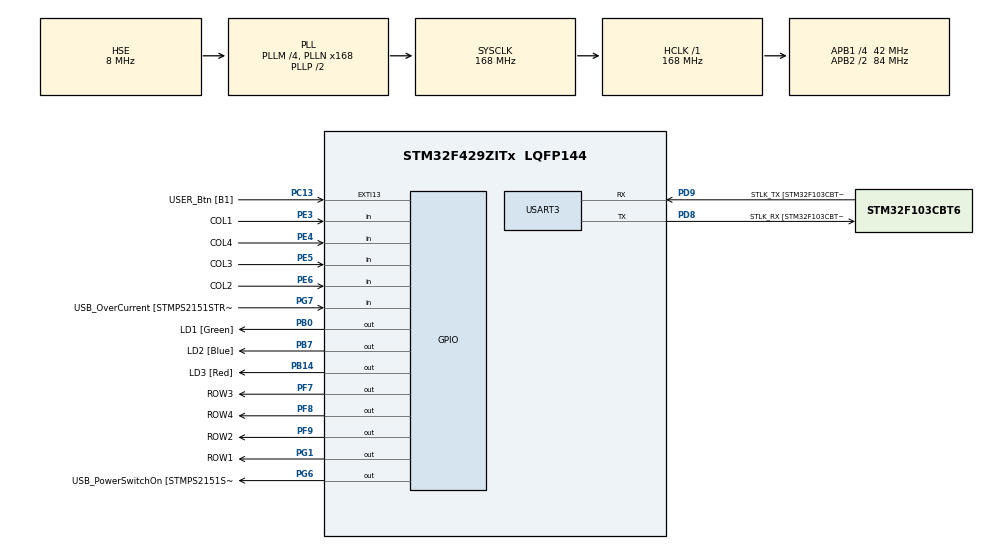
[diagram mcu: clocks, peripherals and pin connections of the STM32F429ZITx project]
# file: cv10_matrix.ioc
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Mcu.Family=STM32F4
Mcu.Name=STM32F429ZITx
Mcu.Package=LQFP144
NVIC.PriorityGroup=NVIC_PRIORITYGROUP_4
NVIC.TIM3_IRQn=true\:0\:0\:false\:false\:true\:true\:true\:true
PA1.GPIO_Label=RMII_REF_CLK [LAN8742A-CZ-TR_REFCLK0]
PA1.Signal=ETH_REF_CLK
PA10.GPIO_Label=USB_ID
PA10.Signal=USB_OTG_FS_ID
PA11.GPIO_Label=USB_DM
PA11.Signal=USB_OTG_FS_DM
PA12.GPIO_Label=USB_DP
PA12.Signal=USB_OTG_FS_DP
PA13.GPIO_Label=TMS
PA13.Mode=Serial_Wire
PA13.Signal=SYS_JTMS-SWDIO
PA14.GPIO_Label=TCK
PA14.Mode=Serial_Wire
PA14.Signal=SYS_JTCK-SWCLK
PA2.GPIO_Label=RMII_MDIO [LAN8742A-CZ-TR_MDIO]
PA2.Signal=ETH_MDIO
PA7.GPIO_Label=RMII_CRS_DV [LAN8742A-CZ-TR_CRS_DV]
PA7.Signal=ETH_CRS_DV
PA8.GPIO_Label=USB_SOF [TP1]
PA8.Signal=USB_OTG_FS_SOF
PA9.GPIO_Label=USB_VBUS
PA9.Signal=USB_OTG_FS_VBUS
PB0.GPIO_Label=LD1 [Green]
PB0.Signal=GPIO_Output
PB13.GPIO_Label=RMII_TXD1 [LAN8742A-CZ-TR_TXD1]
PB13.Signal=ETH_TXD1
PB14.GPIO_Label=LD3 [Red]
PB14.Signal=GPIO_Output
PB7.GPIO_Label=LD2 [Blue]
PB7.Signal=GPIO_Output
PC1.GPIO_Label=RMII_MDC [LAN8742A-CZ-TR_MDC]
PC1.Signal=ETH_MDC
PC13.GPIO_Label=USER_Btn [B1]
PC13.Signal=GPXTI13
PC14/OSC32_IN.Mode=LSE-External-Oscillator
PC14/OSC32_IN.Signal=RCC_OSC32_IN
PC15/OSC32_OUT.Mode=LSE-External-Oscillator
PC15/OSC32_OUT.Signal=RCC_OSC32_OUT
PC4.GPIO_Label=RMII_RXD0 [LAN8742A-CZ-TR_RXD0]
PC4.Signal=ETH_RXD0
PC5.GPIO_Label=RMII_RXD1 [LAN8742A-CZ-TR_RXD1]
PC5.Signal=ETH_RXD1
PD8.GPIO_Label=STLK_RX [STM32F103CBT6_PA3]
PD8.Mode=Asynchronous
PD8.Signal=USART3_TX
PD9.GPIO_Label=STLK_TX [STM32F103CBT6_PA2]
PD9.Mode=Asynchronous
PD9.Signal=USART3_RX
PE3.GPIO_Label=COL1
PE3.GPIO_PuPd=GPIO_PULLUP
PE3.Signal=GPIO_Input
PE4.GPIO_Label=COL4
PE4.GPIO_PuPd=GPIO_PULLUP
PE4.Signal=GPIO_Input
PE5.GPIO_Label=COL3
PE5.GPIO_PuPd=GPIO_PULLUP
PE5.Signal=GPIO_Input
PE6.GPIO_Label=COL2
PE6.GPIO_PuPd=GPIO_PULLUP
PE6.Signal=GPIO_Input
PF7.GPIO_Label=ROW3
PF7.GPIO_ModeDefaultOutputPP=GPIO_MODE_OUTPUT_OD
PF7.GPIO_PuPd=GPIO_NOPULL
PF7.Signal=GPIO_Output
PF8.GPIO_Label=ROW4
PF8.GPIO_ModeDefaultOutputPP=GPIO_MODE_OUTPUT_OD
PF8.GPIO_PuPd=GPIO_NOPULL
PF8.Signal=GPIO_Output
PF9.GPIO_Label=ROW2
PF9.GPIO_ModeDefaultOutputPP=GPIO_MODE_OUTPUT_OD
PF9.GPIO_PuPd=GPIO_NOPULL
PF9.Signal=GPIO_Output
PG1.GPIO_Label=ROW1
PG1.GPIO_ModeDefaultOutputPP=GPIO_MODE_OUTPUT_OD
PG1.GPIO_PuPd=GPIO_NOPULL
PG1.Signal=GPIO_Output
PG11.GPIO_Label=RMII_TX_EN [LAN8742A-CZ-TR_TXEN]
PG11.Signal=ETH_TX_EN
PG13.GPIO_Label=RMII_TXD0 [LAN8742A-CZ-TR_TXD0]
PG13.Signal=ETH_TXD0
PG6.GPIO_Label=USB_PowerSwitchOn [STMPS2151STR_EN]
PG6.Signal=GPIO_Output
PG7.GPIO_Label=USB_OverCurrent [STMPS2151STR_FAULT]
PG7.Signal=GPIO_Input
PH0/OSC_IN.GPIO_Label=MCO [STM32F103CBT6_PA8]
PH0/OSC_IN.Mode=HSE-External-Clock-Source
PH0/OSC_IN.Signal=RCC_OSC_IN
PH1/OSC_OUT.Mode=HSE-External-Clock-Source
PH1/OSC_OUT.Signal=RCC_OSC_OUT
ProjectManager.HeapSize=0x200
ProjectManager.StackSize=0x400
ProjectManager.TargetToolchain=STM32CubeIDE
RCC.48MHZClocksFreq_Value=48000000
RCC.AHBFreq_Value=168000000
RCC.APB1CLKDivider=RCC_HCLK_DIV4
RCC.APB1Freq_Value=42000000
RCC.APB1TimFreq_Value=84000000
RCC.APB2CLKDivider=RCC_HCLK_DIV2
RCC.APB2Freq_Value=84000000
RCC.APB2TimCLKDivider=2
RCC.APB2TimFreq_Value=168000000
RCC.CortexFreq_Value=168000000
RCC.HCLKFreq_Value=168000000
RCC.HSE_VALUE=8000000
RCC.HSI_VALUE=16000000
RCC.PLLM=4
RCC.PLLMUL=RCC_PLL_MUL9
RCC.PLLN=168
RCC.PLLQ=7
RCC.PLLSourceVirtual=RCC_PLLSOURCE_HSE
RCC.PRESCALERUSB=RCC_USBCLKSOURCE_PLL_DIV1_5
RCC.SYSCLKFreq_VALUE=168000000
RCC.SYSCLKSource=RCC_SYSCLKSOURCE_PLLCLK
RCC.SYSCLKSourceVirtual=RCC_SYSCLKSOURCE_PLLCLK
RCC.USBFreq_Value=48000000
RCC.VCOOutputFreq_Value=336000000
TIM3.AutoReloadPreload=TIM_AUTORELOAD_PRELOAD_ENABLE
TIM3.Period=99
TIM3.Prescaler=8399
USART3.VirtualMode=VM_ASYNC
VP_TIM3_VS_ClockSourceINT.Mode=Internal
board=NUCLEO-F429ZI

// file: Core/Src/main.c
/* USER CODE BEGIN Header */
/**
  ******************************************************************************
  * @file           : main.c
  * @brief          : Main program body
  ******************************************************************************
  * @attention
  *
  * Copyright (c) 2023 STMicroelectronics.
  * All rights reserved.
  *
  * This software is licensed under terms that can be found in the LICENSE file
  * in the root directory of this software component.
  * If no LICENSE file comes with this software, it is provided AS-IS.
  *
  ******************************************************************************
  */
/* USER CODE END Header */
#include "main.h"

/* USER CODE BEGIN Includes */
#include <stdio.h>
/* USER CODE END Includes */

/* USER CODE BEGIN PD */
#define TIMEOUT 5000

/* USER CODE END PD */

TIM_HandleTypeDef htim3;

UART_HandleTypeDef huart3;

/* USER CODE BEGIN PV */
static volatile int8_t key = -1;
static uint32_t timer_last = 0;
static uint8_t password[5] = {7,9,3,2,12};

/* USER CODE END PV */

void SystemClock_Config(void);
static void MX_GPIO_Init(void);
static void MX_USART3_UART_Init(void);
static void MX_TIM3_Init(void);

/* USER CODE BEGIN 0 */
int __io_putchar(int ch)
{
	ITM_SendChar(ch);
	return 0;
}
/* USER CODE END 0 */

int main(void)
{

  /* MCU Configuration--------------------------------------------------------*/

  /* Reset of all peripherals, Initializes the Flash interface and the Systick. */
  HAL_Init();

  /* Configure the system clock */
  SystemClock_Config();

  /* Initialize all configured peripherals */
  MX_GPIO_Init();
  MX_USART3_UART_Init();
  MX_TIM3_Init();
  /* USER CODE BEGIN 2 */
  HAL_TIM_Base_Start_IT(&htim3);

  printf(" ****\n");

  timer_last = HAL_GetTick();
  /* USER CODE END 2 */

  /* Infinite loop */
  /* USER CODE BEGIN WHILE */

  uint8_t position = 0;
  uint8_t status_timer = 0;

  while (1) {

	  if ((status_timer == 1) && ((timer_last + TIMEOUT) < HAL_GetTick())) {
		  printf("Timeout!\n");
		  position = 0;
		  status_timer = 0;
		  continue;
	  }

	  if (key != -1) {
		  switch (key)
		  {
		  case 0: printf("Key: 0\n"); break;
		  case 1: printf("Key: 1\n"); break;
		  case 2: printf("Key: 2\n"); break;
		  case 3: printf("Key: 3\n"); break;
		  case 4: printf("Key: 4\n"); break;
		  case 5: printf("Key: 5\n"); break;
		  case 6: printf("Key: 6\n"); break;
		  case 7: printf("Key: 7\n"); break;
		  case 8: printf("Key: 8\n"); break;
		  case 9: printf("Key: 9\n"); break;
		  case 11: printf("Key: *\n"); break;
		  case 12: printf("Key: #\n"); break;
		  case 21: printf("Key: A\n"); break;
		  case 22: printf("Key: B\n"); break;
		  case 23: printf("Key: C\n"); break;
		  case 24: printf("Key: D\n"); break;
		  }

		  HAL_GPIO_WritePin(LD2_GPIO_Port, LD2_Pin, 0);

		  if (key != -1) {
			  status_timer = 1;
			  HAL_GPIO_WritePin(LD2_GPIO_Port, LD2_Pin, 0);

			  if (key == password[position]) {
				  if (key == 12 && position == 4) {
					  printf("Correct password!\n");
					  HAL_GPIO_WritePin(LD2_GPIO_Port, LD2_Pin, 1);

					  position = 0;
					  status_timer = 0;
				  }
				  position++;
			  } else {
				  position = 0;
				  if (key == 12) {
					  printf("Wrong password!\n");
				  }
			  }
		  }

		  HAL_Delay(250);
		  timer_last = HAL_GetTick();
		  key = -1;
	  }
	  /* USER CODE END WHILE */

  }
}

void SystemClock_Config(void)
{
  RCC_OscInitTypeDef RCC_OscInitStruct = {0};
  RCC_ClkInitTypeDef RCC_ClkInitStruct = {0};

  /** Configure the main internal regulator output voltage
  */
  __HAL_RCC_PWR_CLK_ENABLE();
  __HAL_PWR_VOLTAGESCALING_CONFIG(PWR_REGULATOR_VOLTAGE_SCALE1);

  /** Initializes the RCC Oscillators according to the specified parameters
  * in the RCC_OscInitTypeDef structure.
  */
  RCC_OscInitStruct.OscillatorType = RCC_OSCILLATORTYPE_HSE;
  RCC_OscInitStruct.HSEState = RCC_HSE_BYPASS;
  RCC_OscInitStruct.PLL.PLLState = RCC_PLL_ON;
  RCC_OscInitStruct.PLL.PLLSource = RCC_PLLSOURCE_HSE;
  RCC_OscInitStruct.PLL.PLLM = 4;
  RCC_OscInitStruct.PLL.PLLN = 168;
  RCC_OscInitStruct.PLL.PLLP = RCC_PLLP_DIV2;
  RCC_OscInitStruct.PLL.PLLQ = 7;
  if (HAL_RCC_OscConfig(&RCC_OscInitStruct) != HAL_OK)
  {
    Error_Handler();
  }

  /** Initializes the CPU, AHB and APB buses clocks
  */
  RCC_ClkInitStruct.ClockType = RCC_CLOCKTYPE_HCLK|RCC_CLOCKTYPE_SYSCLK
                              |RCC_CLOCKTYPE_PCLK1|RCC_CLOCKTYPE_PCLK2;
  RCC_ClkInitStruct.SYSCLKSource = RCC_SYSCLKSOURCE_PLLCLK;
  RCC_ClkInitStruct.AHBCLKDivider = RCC_SYSCLK_DIV1;
  RCC_ClkInitStruct.APB1CLKDivider = RCC_HCLK_DIV4;
  RCC_ClkInitStruct.APB2CLKDivider = RCC_HCLK_DIV2;

  if (HAL_RCC_ClockConfig(&RCC_ClkInitStruct, FLASH_LATENCY_5) != HAL_OK)
  {
    Error_Handler();
  }
}

static void MX_TIM3_Init(void)
{

  TIM_ClockConfigTypeDef sClockSourceConfig = {0};
  TIM_MasterConfigTypeDef sMasterConfig = {0};

  htim3.Instance = TIM3;
  htim3.Init.Prescaler = 8399;
  htim3.Init.CounterMode = TIM_COUNTERMODE_UP;
  htim3.Init.Period = 99;
  htim3.Init.ClockDivision = TIM_CLOCKDIVISION_DIV1;
  htim3.Init.AutoReloadPreload = TIM_AUTORELOAD_PRELOAD_DISABLE;
  if (HAL_TIM_Base_Init(&htim3) != HAL_OK)
  {
    Error_Handler();
  }
  sClockSourceConfig.ClockSource = TIM_CLOCKSOURCE_INTERNAL;
  if (HAL_TIM_ConfigClockSource(&htim3, &sClockSourceConfig) != HAL_OK)
  {
    Error_Handler();
  }
  sMasterConfig.MasterOutputTrigger = TIM_TRGO_RESET;
  sMasterConfig.MasterSlaveMode = TIM_MASTERSLAVEMODE_DISABLE;
  if (HAL_TIMEx_MasterConfigSynchronization(&htim3, &sMasterConfig) != HAL_OK)
  {
    Error_Handler();
  }

}

static void MX_USART3_UART_Init(void)
{

  huart3.Instance = USART3;
  huart3.Init.BaudRate = 115200;
  huart3.Init.WordLength = UART_WORDLENGTH_8B;
  huart3.Init.StopBits = UART_STOPBITS_1;
  huart3.Init.Parity = UART_PARITY_NONE;
  huart3.Init.Mode = UART_MODE_TX_RX;
  huart3.Init.HwFlowCtl = UART_HWCONTROL_NONE;
  huart3.Init.OverSampling = UART_OVERSAMPLING_16;
  if (HAL_UART_Init(&huart3) != HAL_OK)
  {
    Error_Handler();
  }

}

static void MX_GPIO_Init(void)
{
  GPIO_InitTypeDef GPIO_InitStruct = {0};

  /* GPIO Ports Clock Enable */
  __HAL_RCC_GPIOE_CLK_ENABLE();
  __HAL_RCC_GPIOC_CLK_ENABLE();
  __HAL_RCC_GPIOF_CLK_ENABLE();
  __HAL_RCC_GPIOH_CLK_ENABLE();
  __HAL_RCC_GPIOA_CLK_ENABLE();
  __HAL_RCC_GPIOB_CLK_ENABLE();
  __HAL_RCC_GPIOG_CLK_ENABLE();
  __HAL_RCC_GPIOD_CLK_ENABLE();

  /*Configure GPIO pin Output Level */
  HAL_GPIO_WritePin(GPIOF, ROW3_Pin|ROW4_Pin|ROW2_Pin, GPIO_PIN_RESET);

  /*Configure GPIO pin Output Level */
  HAL_GPIO_WritePin(GPIOB, LD1_Pin|LD3_Pin|LD2_Pin, GPIO_PIN_RESET);

  /*Configure GPIO pin Output Level */
  HAL_GPIO_WritePin(GPIOG, ROW1_Pin|USB_PowerSwitchOn_Pin, GPIO_PIN_RESET);

  /*Configure GPIO pins : COL1_Pin COL4_Pin COL3_Pin COL2_Pin */
  GPIO_InitStruct.Pin = COL1_Pin|COL4_Pin|COL3_Pin|COL2_Pin;
  GPIO_InitStruct.Mode = GPIO_MODE_INPUT;
  GPIO_InitStruct.Pull = GPIO_PULLUP;
  HAL_GPIO_Init(GPIOE, &GPIO_InitStruct);

  /*Configure GPIO pin : USER_Btn_Pin */
  GPIO_InitStruct.Pin = USER_Btn_Pin;
  GPIO_InitStruct.Mode = GPIO_MODE_IT_RISING;
  GPIO_InitStruct.Pull = GPIO_NOPULL;
  HAL_GPIO_Init(USER_Btn_GPIO_Port, &GPIO_InitStruct);

  /*Configure GPIO pins : ROW3_Pin ROW4_Pin ROW2_Pin */
  GPIO_InitStruct.Pin = ROW3_Pin|ROW4_Pin|ROW2_Pin;
  GPIO_InitStruct.Mode = GPIO_MODE_OUTPUT_OD;
  GPIO_InitStruct.Pull = GPIO_NOPULL;
  GPIO_InitStruct.Speed = GPIO_SPEED_FREQ_LOW;
  HAL_GPIO_Init(GPIOF, &GPIO_InitStruct);

  /*Configure GPIO pins : RMII_MDC_Pin RMII_RXD0_Pin RMII_RXD1_Pin */
  GPIO_InitStruct.Pin = RMII_MDC_Pin|RMII_RXD0_Pin|RMII_RXD1_Pin;
  GPIO_InitStruct.Mode = GPIO_MODE_AF_PP;
  GPIO_InitStruct.Pull = GPIO_NOPULL;
  GPIO_InitStruct.Speed = GPIO_SPEED_FREQ_VERY_HIGH;
  GPIO_InitStruct.Alternate = GPIO_AF11_ETH;
  HAL_GPIO_Init(GPIOC, &GPIO_InitStruct);

  /*Configure GPIO pins : RMII_REF_CLK_Pin RMII_MDIO_Pin RMII_CRS_DV_Pin */
  GPIO_InitStruct.Pin = RMII_REF_CLK_Pin|RMII_MDIO_Pin|RMII_CRS_DV_Pin;
  GPIO_InitStruct.Mode = GPIO_MODE_AF_PP;
  GPIO_InitStruct.Pull = GPIO_NOPULL;
  GPIO_InitStruct.Speed = GPIO_SPEED_FREQ_VERY_HIGH;
  GPIO_InitStruct.Alternate = GPIO_AF11_ETH;
  HAL_GPIO_Init(GPIOA, &GPIO_InitStruct);

  /*Configure GPIO pins : LD1_Pin LD3_Pin LD2_Pin */
  GPIO_InitStruct.Pin = LD1_Pin|LD3_Pin|LD2_Pin;
  GPIO_InitStruct.Mode = GPIO_MODE_OUTPUT_PP;
  GPIO_InitStruct.Pull = GPIO_NOPULL;
  GPIO_InitStruct.Speed = GPIO_SPEED_FREQ_LOW;
  HAL_GPIO_Init(GPIOB, &GPIO_InitStruct);

  /*Configure GPIO pin : ROW1_Pin */
  GPIO_InitStruct.Pin = ROW1_Pin;
  GPIO_InitStruct.Mode = GPIO_MODE_OUTPUT_OD;
  GPIO_InitStruct.Pull = GPIO_NOPULL;
  GPIO_InitStruct.Speed = GPIO_SPEED_FREQ_LOW;
  HAL_GPIO_Init(ROW1_GPIO_Port, &GPIO_InitStruct);

  /*Configure GPIO pin : RMII_TXD1_Pin */
  GPIO_InitStruct.Pin = RMII_TXD1_Pin;
  GPIO_InitStruct.Mode = GPIO_MODE_AF_PP;
  GPIO_InitStruct.Pull = GPIO_NOPULL;
  GPIO_InitStruct.Speed = GPIO_SPEED_FREQ_VERY_HIGH;
  GPIO_InitStruct.Alternate = GPIO_AF11_ETH;
  HAL_GPIO_Init(RMII_TXD1_GPIO_Port, &GPIO_InitStruct);

  /*Configure GPIO pin : USB_PowerSwitchOn_Pin */
  GPIO_InitStruct.Pin = USB_PowerSwitchOn_Pin;
  GPIO_InitStruct.Mode = GPIO_MODE_OUTPUT_PP;
  GPIO_InitStruct.Pull = GPIO_NOPULL;
  GPIO_InitStruct.Speed = GPIO_SPEED_FREQ_LOW;
  HAL_GPIO_Init(USB_PowerSwitchOn_GPIO_Port, &GPIO_InitStruct);

  /*Configure GPIO pin : USB_OverCurrent_Pin */
  GPIO_InitStruct.Pin = USB_OverCurrent_Pin;
  GPIO_InitStruct.Mode = GPIO_MODE_INPUT;
  GPIO_InitStruct.Pull = GPIO_NOPULL;
  HAL_GPIO_Init(USB_OverCurrent_GPIO_Port, &GPIO_InitStruct);

  /*Configure GPIO pins : USB_SOF_Pin USB_ID_Pin USB_DM_Pin USB_DP_Pin */
  GPIO_InitStruct.Pin = USB_SOF_Pin|USB_ID_Pin|USB_DM_Pin|USB_DP_Pin;
  GPIO_InitStruct.Mode = GPIO_MODE_AF_PP;
  GPIO_InitStruct.Pull = GPIO_NOPULL;
  GPIO_InitStruct.Speed = GPIO_SPEED_FREQ_VERY_HIGH;
  GPIO_InitStruct.Alternate = GPIO_AF10_OTG_FS;
  HAL_GPIO_Init(GPIOA, &GPIO_InitStruct);

  /*Configure GPIO pin : USB_VBUS_Pin */
  GPIO_InitStruct.Pin = USB_VBUS_Pin;
  GPIO_InitStruct.Mode = GPIO_MODE_INPUT;
  GPIO_InitStruct.Pull = GPIO_NOPULL;
  HAL_GPIO_Init(USB_VBUS_GPIO_Port, &GPIO_InitStruct);

  /*Configure GPIO pins : RMII_TX_EN_Pin RMII_TXD0_Pin */
  GPIO_InitStruct.Pin = RMII_TX_EN_Pin|RMII_TXD0_Pin;
  GPIO_InitStruct.Mode = GPIO_MODE_AF_PP;
  GPIO_InitStruct.Pull = GPIO_NOPULL;
  GPIO_InitStruct.Speed = GPIO_SPEED_FREQ_VERY_HIGH;
  GPIO_InitStruct.Alternate = GPIO_AF11_ETH;
  HAL_GPIO_Init(GPIOG, &GPIO_InitStruct);

}

/* USER CODE BEGIN 4 */
void HAL_TIM_PeriodElapsedCallback(TIM_HandleTypeDef *htim)
{
	static uint8_t ROW = 0;
	static const uint8_t keyboard[4][4] = {
		{ 1, 2, 3, 21 },
		{ 4, 5, 6, 22 },
		{ 7, 8, 9, 23 },
		{ 11, 0, 12, 24 },
	};

	if (key == -1) {
		if (HAL_GPIO_ReadPin(COL1_GPIO_Port, COL1_Pin) == GPIO_PIN_RESET) key = keyboard[ROW][0];
		if (HAL_GPIO_ReadPin(COL2_GPIO_Port, COL2_Pin) == GPIO_PIN_RESET) key = keyboard[ROW][1];
		if (HAL_GPIO_ReadPin(COL3_GPIO_Port, COL3_Pin) == GPIO_PIN_RESET) key = keyboard[ROW][2];
		if (HAL_GPIO_ReadPin(COL4_GPIO_Port, COL4_Pin) == GPIO_PIN_RESET) key = keyboard[ROW][3];
	}

	HAL_GPIO_WritePin(ROW1_GPIO_Port, ROW1_Pin, GPIO_PIN_SET);
	HAL_GPIO_WritePin(ROW2_GPIO_Port, ROW2_Pin, GPIO_PIN_SET);
	HAL_GPIO_WritePin(ROW3_GPIO_Port, ROW3_Pin, GPIO_PIN_SET);
	HAL_GPIO_WritePin(ROW4_GPIO_Port, ROW4_Pin, GPIO_PIN_SET);

	switch (ROW) {
		case 0: ROW = 1; HAL_GPIO_WritePin(ROW2_GPIO_Port, ROW2_Pin, GPIO_PIN_RESET); break;
		case 1: ROW = 2; HAL_GPIO_WritePin(ROW3_GPIO_Port, ROW3_Pin, GPIO_PIN_RESET); break;
		case 2: ROW = 3; HAL_GPIO_WritePin(ROW4_GPIO_Port, ROW4_Pin, GPIO_PIN_RESET); break;
		case 3: ROW = 0; HAL_GPIO_WritePin(ROW1_GPIO_Port, ROW1_Pin, GPIO_PIN_RESET); break;
	}

}
/* USER CODE END 4 */

void Error_Handler(void)
{
  __disable_irq();
  while (1)
  {
  }
}
